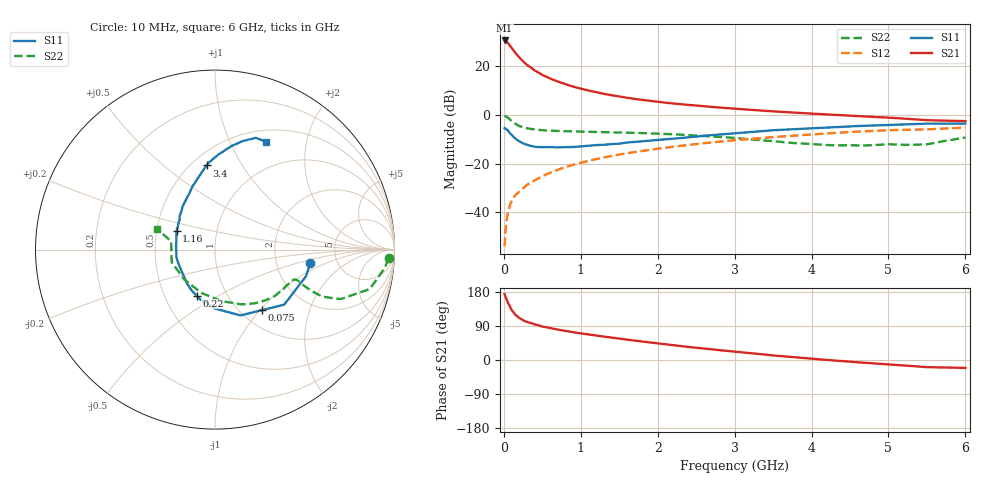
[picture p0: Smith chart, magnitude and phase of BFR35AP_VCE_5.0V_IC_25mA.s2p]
! Infineon Technologies  Discrete & RF Semiconductors
! BFR35AP
! VCE =  5.0 V,  IC =  25 mA
! Common Emitter S-Parameters:  Nov 2015
# GHz  S  MA  R  50
!  f  S11  S21  S12  S22
! GHz  MAG  ANG  MAG  ANG  MAG  ANG  MAG  ANG
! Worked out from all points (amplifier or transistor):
!   210 points, 10 MHz to 6 GHz, reference 50 ohm
!   highest |S21| = 30.7 dB at 10 MHz (marker M1)
!   |S21| within 3 dB of that: start of sweep to 100.6 MHz
!   unconditionally stable (mu >= 1): 362.4 MHz to 2.789 GHz
!   at 185 MHz: K = 0.79, MSG = 28.1 dB, |S12| = -32.0 dB
!   at 1.52 GHz: K = 1.10, MAG = 9.9 dB, |S12| = -16.2 dB
!   at 6 GHz: K = 0.93, MSG = 1.3 dB, |S12| = -5.2 dB
!   S11 on the Smith chart (normalised r, x): 10 MHz: 3.15, -0.68; 75 MHz: 1.25, -1.03; 220 MHz: 0.72, -0.40; 1.16 GHz: 0.64, +0.14; 3.4 GHz: 0.59, +0.71; 6 GHz: 0.64, +1.38
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0.01  0.5361 -8.2  34.09 173.7  0.002 89.1  0.9692 -2.9
0.02  0.5286 -16.2  33.6 167.6  0.0039 79.8  0.951 -6.2
0.05  0.4926 -38.5  30.77 151.7  0.0094 74.7  0.8898 -14.3
0.075  0.4276 -52.0  27.09 143.0  0.0133 71.1  0.8195 -17.6
0.1  0.3932 -68.9  24.2 132.0  0.0172 69.1  0.7525 -21.5
0.15  0.3277 -90.5  18.89 119.0  0.0225 66.7  0.6557 -23.6
0.2  0.2886 -106.9  15.24 110.8  0.0264 67.3  0.5943 -23.3
0.22  0.276 -111.9  14.17 108.7  0.0284 67.7  0.5789 -23.0
0.26  0.2576 -122.1  12.24 104.0  0.0323 68.5  0.551 -22.5
0.3  0.2443 -129.8  10.76 100.4  0.0364 69.5  0.5315 -22.0
0.4  0.222 -146.6  8.281 94.0  0.0452 71.0  0.501 -20.7
0.5  0.2182 -159.8  6.676 88.4  0.055 71.8  0.4844 -20.3
0.7  0.2155 -178.9  4.872 80.2  0.0746 71.8  0.4682 -21.0
1.02  0.2267 161.6  3.411 69.8  0.106 70.4  0.4541 -24.2
1.16  0.2376 154.1  3.037 65.7  0.1197 69.4  0.4486 -26.1
1.6  0.271 136.6  2.256 53.7  0.1632 65.3  0.431 -33.0
2.02  0.3083 124.1  1.85 43.5  0.2042 61.4  0.4112 -40.8
3.1  0.4311 100.4  1.312 20.1  0.3116 48.8  0.3254 -67.8
3.4  0.471 95.7  1.215 14.2  0.3404 45.0  0.2965 -78.5
4.1  0.5427 86.1  1.047 1.8  0.4074 35.9  0.246 -112.1
5.1  0.6312 74.5  0.862 -13.1  0.4893 21.3  0.2462 -168.9
6  0.6647 64.6  0.746 -20.8  0.5513 10.4  0.3425 160.7
